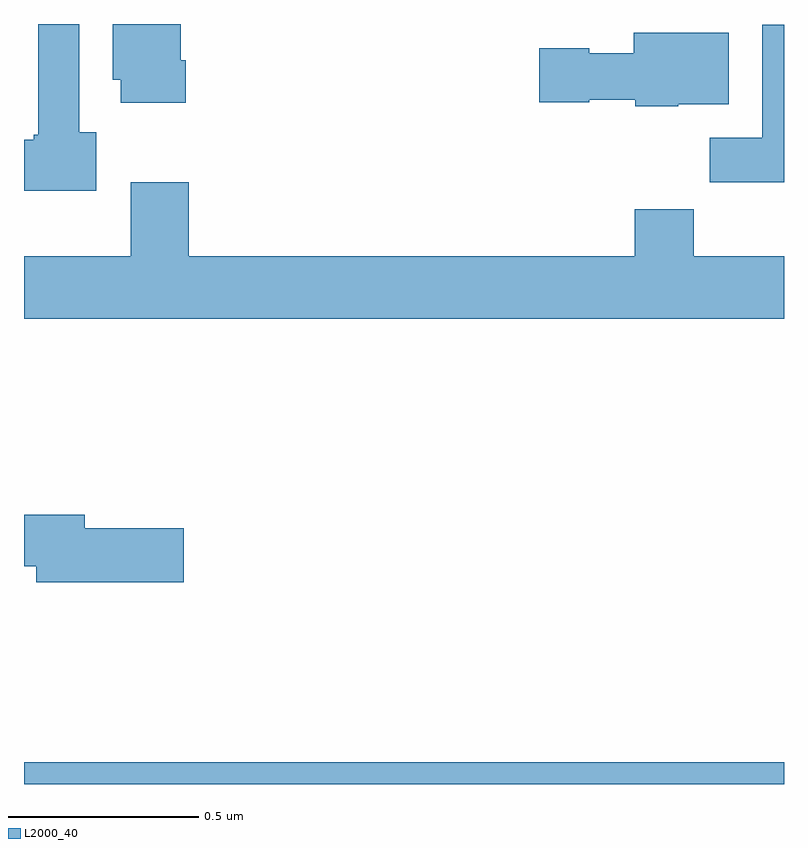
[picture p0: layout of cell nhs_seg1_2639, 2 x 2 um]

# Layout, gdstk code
import gdstk
lib = gdstk.Library(unit=1e-6, precision=1e-09)
def R(c, l, rs):  # rectangles x0, y0, x1, y1
    for r in rs: c.add(gdstk.rectangle(r[:2], r[2:], *l))
def P(c, l, *ps):  # polygons
    for p in ps: c.add(gdstk.Polygon(p, *l))
L2000_40 = (2000, 40)

nhs_seg1_2639 = lib.new_cell('nhs_seg1_2639')
R(nhs_seg1_2639, L2000_40, [(144,525.199,146,525.256)])
P(nhs_seg1_2639, L2000_40, [(144.19,526.914),(144.145,526.914),(144.145,527.199),(144.038,527.199),(144.038,526.908),(144.025,526.908),(144.025,526.894),(144,526.894),(144,526.76),(144.19,526.76)],
  [(144.425,527.104),(144.412,527.104),(144.412,527.199),(144.233,527.199),(144.233,527.052),(144.254,527.052),(144.254,526.992),(144.425,526.992)],
  [(146,527.197),(145.943,527.197),(145.943,526.9),(145.804,526.9),(145.804,526.782),(146,526.782)],
  [(145.722,526.988),(145.855,526.988),(145.855,527.176),(145.604,527.176),(145.604,527.122),(145.488,527.122),(145.488,527.135),(145.356,527.135),(145.356,526.993),(145.488,526.993),(145.488,527),(145.608,527),(145.608,526.982),(145.722,526.982)],
  [(146,526.588),(145.763,526.588),(145.763,526.712),(145.607,526.712),(145.607,526.588),(144.434,526.588),(144.434,526.783),(144.281,526.783),(144.281,526.588),(144,526.588),(144,526.424),(146,526.424)],
  [(144.421,525.872),(144.16,525.872),(144.16,525.908),(144,525.908),(144,525.772),(144.032,525.772),(144.032,525.73),(144.421,525.73)])

lib.write_gds('nhs_seg1_2639.gds')
